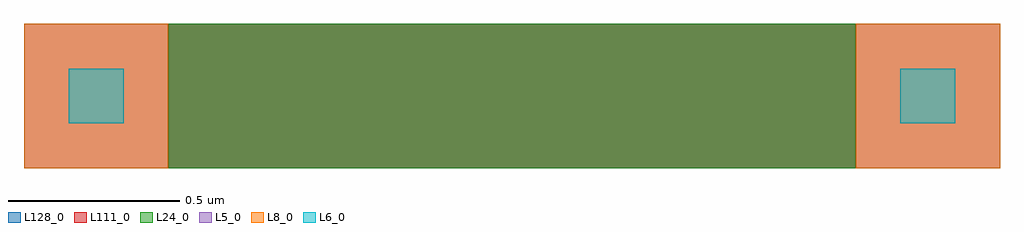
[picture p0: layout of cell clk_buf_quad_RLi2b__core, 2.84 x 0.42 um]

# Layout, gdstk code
import gdstk
lib = gdstk.Library(unit=1e-6, precision=1e-09)
def R(c, l, rs):  # rectangles x0, y0, x1, y1
    for r in rs: c.add(gdstk.rectangle(r[:2], r[2:], *l))
L5_0 = (5, 0)
L6_0 = (6, 0)
L8_0 = (8, 0)
L24_0 = (24, 0)
L111_0 = (111, 0)
L128_0 = (128, 0)

clk_buf_quad_rli2b__core = lib.new_cell('clk_buf_quad_RLi2b__core')
R(clk_buf_quad_rli2b__core, L5_0, [(0,0,0.42,0.42), (2.42,0,2.84,0.42)])
R(clk_buf_quad_rli2b__core, L6_0, [(0.13,0.13,0.29,0.29), (2.55,0.13,2.71,0.29)])
R(clk_buf_quad_rli2b__core, L8_0, [(0,0,0.42,0.42), (2.42,0,2.84,0.42)])
R(clk_buf_quad_rli2b__core, L24_0, [(0.42,0,2.42,0.42)])
R(clk_buf_quad_rli2b__core, L111_0, [(0.42,0,2.42,0.42)])
R(clk_buf_quad_rli2b__core, L128_0, [(0.42,0,2.42,0.42)])

lib.write_gds('clk_buf_quad_RLi2b__core.gds')
